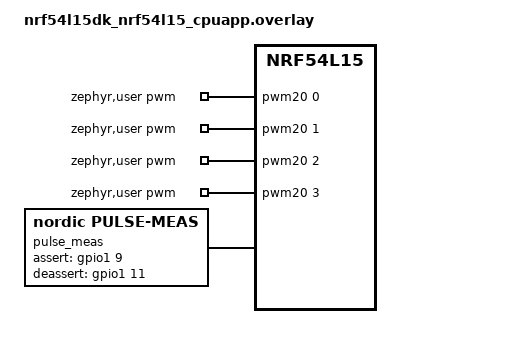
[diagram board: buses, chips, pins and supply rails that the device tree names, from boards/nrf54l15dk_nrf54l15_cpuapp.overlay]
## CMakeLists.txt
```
# SPDX-License-Identifier: LicenseRef-Nordic-5-Clause

cmake_minimum_required(VERSION 3.20.0)

find_package(Zephyr REQUIRED HINTS $ENV{ZEPHYR_BASE})
project(pulse_meas)

target_sources(app PRIVATE src/main.c)
```

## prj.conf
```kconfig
CONFIG_ZTEST=y
CONFIG_NRFX_PWM=y
```

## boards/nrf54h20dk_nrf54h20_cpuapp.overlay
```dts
/*
 * Copyright (c) 2026 Nordic Semiconductor ASA
 *
 * SPDX-License-Identifier: LicenseRef-Nordic-5-Clause
 */

&timer131 {
	status = "reserved";
};

&gpio0 {
	status = "okay";
};

&pinctrl {
	pwm130_default: pwm130_default {
		group1 {
			psels = <NRF_PSEL(PWM_OUT0, 0, 3)>,
				<NRF_PSEL(PWM_OUT1, 0, 6)>;
		};
	};

	pwm130_sleep: pwm130_sleep {
		group1 {
			psels = <NRF_PSEL(PWM_OUT0, 0, 3)>,
				<NRF_PSEL(PWM_OUT1, 0, 6)>;
			low-power-enable;
		};
	};
};

tester_pwm: &pwm130 {
	status = "reserved";
	pinctrl-0 = <&pwm130_default>;
	pinctrl-1 = <&pwm130_sleep>;
	pinctrl-names = "default", "sleep";
};

/ {
	pulse_meas: pulse-meas {
		compatible = "nordic,pulse-meas";
		status = "okay";
		timer-instance = <&timer131>;
		assert-gpios = <&gpio0 7 GPIO_ACTIVE_HIGH>;
		deassert-gpios = <&gpio0 5 GPIO_ACTIVE_HIGH>;
	};
};
```

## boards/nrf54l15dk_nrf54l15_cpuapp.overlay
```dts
/*
 * Copyright (c) 2026 Nordic Semiconductor ASA
 *
 * SPDX-License-Identifier: LicenseRef-Nordic-5-Clause
 */

/ {
	zephyr,user {
		pwms = <&pwm20 0 1600000 PWM_POLARITY_NORMAL>,
		       <&pwm20 1 1600000 PWM_POLARITY_NORMAL>,
		       <&pwm20 2 1600000 PWM_POLARITY_NORMAL>,
		       <&pwm20 3 1600000 PWM_POLARITY_NORMAL>;
	};

	pulse_meas: pulse-meas {
		compatible = "nordic,pulse-meas";
		status = "okay";
		timer-instance = <&timer20>;
		assert-gpios = <&gpio1 9 GPIO_ACTIVE_HIGH>;
		deassert-gpios = <&gpio1 11 GPIO_ACTIVE_HIGH>;
	};
};

&pinctrl {
	pwm20_default: pwm20_default {
		group1 {
			psels = <NRF_PSEL(PWM_OUT0, 1, 8)>,
				<NRF_PSEL(PWM_OUT1, 1, 10)>;
		};
	};

	pwm20_sleep: pwm20_sleep {
		group1 {
			psels = <NRF_PSEL(PWM_OUT0, 1, 8)>,
				<NRF_PSEL(PWM_OUT1, 1, 10)>;
			low-power-enable;
		};
	};
};

tester_pwm: &pwm20 {
	status = "reserved";
	pinctrl-0 = <&pwm20_default>;
	pinctrl-1 = <&pwm20_sleep>;
	pinctrl-names = "default", "sleep";
};

&timer20 {
	status = "reserved";
};

&gpio1 {
	status = "okay";
};
```

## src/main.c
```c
/*
 * Copyright (c) 2026, Nordic Semiconductor ASA
 *
 * SPDX-License-Identifier: LicenseRef-Nordic-5-Clause
 */

#include <zephyr/kernel.h>
#include <zephyr/ztest.h>
#include <drivers/pulse_meas.h>
#include <nrfx_pwm.h>
#include <pinctrl_soc.h>
#include <zephyr/devicetree/pinctrl.h>
#ifdef CONFIG_HAS_NORDIC_DMM
#include <dmm.h>
#endif

#include <zephyr/logging/log.h>
LOG_MODULE_REGISTER(test);

#define PWM_OUTPUT_PIN(idx)                                                                        \
	NRF_GET_PIN(DT_PROP_BY_IDX(                                                                \
		DT_CHILD(DT_PINCTRL_BY_NAME(DT_NODELABEL(tester_pwm), default, 0), group1), psels, \
		idx))
#define PWM_INSTANCE &NRFX_PWM_INSTANCE(DT_REG_ADDR(DT_NODELABEL(tester_pwm)))

#define NUMBER_OF_MEASUREMENTS 8

#define PWM_TOP_VALUE 1000
#define MEASUREMENT_PRECISION_US 1

static const struct device *const pulse_meas_dev = DEVICE_DT_GET(DT_NODELABEL(pulse_meas));

K_MEM_SLAB_DEFINE(my_meas_slab, PULSE_MEAS_BLOCK_SIZE(NUMBER_OF_MEASUREMENTS), 128, 4);

static volatile bool pulse_meas_handler_called;

static void pulse_meas_handler(void *context)
{
	pulse_meas_handler_called = true;
}

ZTEST(test_pulse_meas, test_pulse_meas_positive)
{
	nrfx_pwm_config_t const pwm_config =
		NRFX_PWM_DEFAULT_CONFIG(PWM_OUTPUT_PIN(0), PWM_OUTPUT_PIN(1),
					NRF_PWM_PIN_NOT_CONNECTED, NRF_PWM_PIN_NOT_CONNECTED);

	nrf_pwm_values_common_t pwm_duty_cycle_values[] = {1, 10, 100, 500, 900, 990, 999};
	nrf_pwm_sequence_t pwm_sequence = {.values = {pwm_duty_cycle_values},
					   .length = ARRAY_SIZE(pwm_duty_cycle_values),
					   .repeats = 0,
					   .end_delay = 0};

	static nrfx_pwm_t pwm = NRFX_PWM_INSTANCE(DT_REG_ADDR(DT_NODELABEL(tester_pwm)));

#ifdef CONFIG_HAS_NORDIC_DMM
	nrf_pwm_values_t pwm_duty_cycle_values_buffer;

	zassert_ok(dmm_buffer_out_prepare(
		DMM_DEV_TO_REG(DT_NODELABEL(tester_pwm)), pwm_duty_cycle_values,
		sizeof(nrf_pwm_values_common_t) * ARRAY_SIZE(pwm_duty_cycle_values),
		(void **)&pwm_duty_cycle_values_buffer));

	pwm_sequence.values = pwm_duty_cycle_values_buffer;
#endif

	zassert_ok(nrfx_pwm_init(&pwm, &pwm_config, NULL, NULL));

	static struct pulse_meas_config pulse_meas_cfg = {
		.num_of_meas = ARRAY_SIZE(pwm_duty_cycle_values),
		.pulse_type = PULSE_MEAS_PULSE_POSITIVE,
		.mode = PULSE_MEAS_MODE_ONE_SHOT,
		.pull_config = NRF_GPIO_PIN_NOPULL,
		.user_handler = &pulse_meas_handler,
		.user_context = NULL,
	};

	pulse_meas_handler_called = false;

	zassert_true(device_is_ready(pulse_meas_dev));

	zassert_ok(pulse_meas_configure(pulse_meas_dev, &pulse_meas_cfg));

	zassert_ok(pulse_meas_start(pulse_meas_dev, &my_meas_slab));

	zassert_ok(nrfx_pwm_simple_playback(&pwm, &pwm_sequence, 1, NRFX_PWM_FLAG_STOP));

	while (!pulse_meas_handler_called) {
		k_sleep(K_MSEC(1));
	}

	uint32_t *data;

	zassert_ok(pulse_meas_get(pulse_meas_dev, &data));

	for (uint32_t i = 0; i < ARRAY_SIZE(pwm_duty_cycle_values); i++) {
		zassert_within(data[i], PWM_TOP_VALUE - pwm_duty_cycle_values[i],
			MEASUREMENT_PRECISION_US);
	}
}

ZTEST(test_pulse_meas, test_pulse_meas_negative)
{
	nrfx_pwm_config_t const pwm_config =
		NRFX_PWM_DEFAULT_CONFIG(PWM_OUTPUT_PIN(0), PWM_OUTPUT_PIN(1),
					NRF_PWM_PIN_NOT_CONNECTED, NRF_PWM_PIN_NOT_CONNECTED);

	nrf_pwm_values_common_t pwm_duty_cycle_values[] = {1, 10, 100, 500, 900, 990, 999};
	nrf_pwm_sequence_t pwm_sequence = {.values = {pwm_duty_cycle_values},
					   .length = ARRAY_SIZE(pwm_duty_cycle_values),
					   .repeats = 0,
					   .end_delay = 0};

	static nrfx_pwm_t pwm = NRFX_PWM_INSTANCE(DT_REG_ADDR(DT_NODELABEL(tester_pwm)));

#ifdef CONFIG_HAS_NORDIC_DMM
	nrf_pwm_values_t pwm_duty_cycle_values_buffer;

	zassert_ok(dmm_buffer_out_prepare(
		DMM_DEV_TO_REG(DT_NODELABEL(tester_pwm)), pwm_duty_cycle_values,
		sizeof(nrf_pwm_values_common_t) * ARRAY_SIZE(pwm_duty_cycle_values),
		(void **)&pwm_duty_cycle_values_buffer));

	pwm_sequence.values = pwm_duty_cycle_values_buffer;
#endif

	zassert_ok(nrfx_pwm_init(&pwm, &pwm_config, NULL, NULL));

	static struct pulse_meas_config pulse_meas_cfg = {
		.num_of_meas = ARRAY_SIZE(pwm_duty_cycle_values),
		.pulse_type = PULSE_MEAS_PULSE_NEGATIVE,
		.mode = PULSE_MEAS_MODE_ONE_SHOT,
		.pull_config = NRF_GPIO_PIN_NOPULL,
		.user_handler = &pulse_meas_handler,
		.user_context = NULL,
	};

	pulse_meas_handler_called = false;

	zassert_true(device_is_ready(pulse_meas_dev));

	zassert_ok(pulse_meas_configure(pulse_meas_dev, &pulse_meas_cfg));

	zassert_ok(pulse_meas_start(pulse_meas_dev, &my_meas_slab));

	zassert_ok(nrfx_pwm_simple_playback(&pwm, &pwm_sequence, 1, NRFX_PWM_FLAG_STOP));

	while (!pulse_meas_handler_called) {
		k_sleep(K_MSEC(1));
	}

	uint32_t *data;

	zassert_ok(pulse_meas_get(pulse_meas_dev, &data));

	for (uint32_t i = 1; i < ARRAY_SIZE(pwm_duty_cycle_values); i++) {
		zassert_within(data[i], pwm_duty_cycle_values[i], MEASUREMENT_PRECISION_US);
	}
}

ZTEST(test_pulse_meas, test_pulse_meas_continuous)
{
	nrfx_pwm_config_t const pwm_config =
		NRFX_PWM_DEFAULT_CONFIG(PWM_OUTPUT_PIN(0), PWM_OUTPUT_PIN(1),
					NRF_PWM_PIN_NOT_CONNECTED, NRF_PWM_PIN_NOT_CONNECTED);

	nrf_pwm_values_common_t pwm_duty_cycle_values1[] = {1, 10, 100, 500, 900, 990, 999};
	nrf_pwm_values_common_t pwm_duty_cycle_values2[] = {32, 99, 346, 2, 43, 897, 376};

	zassert_equal(ARRAY_SIZE(pwm_duty_cycle_values1), ARRAY_SIZE(pwm_duty_cycle_values2));

	nrf_pwm_sequence_t pwm_sequence1 = {.values = {pwm_duty_cycle_values1},
					    .length = ARRAY_SIZE(pwm_duty_cycle_values1),
					    .repeats = 0,
					    .end_delay = 0};
	nrf_pwm_sequence_t pwm_sequence2 = {.values = {pwm_duty_cycle_values2},
					    .length = ARRAY_SIZE(pwm_duty_cycle_values2),
					    .repeats = 0,
					    .end_delay = 0};

	static nrfx_pwm_t pwm = NRFX_PWM_INSTANCE(DT_REG_ADDR(DT_NODELABEL(tester_pwm)));

#ifdef CONFIG_HAS_NORDIC_DMM
	nrf_pwm_values_t pwm_duty_cycle_values1_buffer;
	nrf_pwm_values_t pwm_duty_cycle_values2_buffer;

	zassert_ok(dmm_buffer_out_prepare(
		DMM_DEV_TO_REG(DT_NODELABEL(tester_pwm)), pwm_duty_cycle_values1,
		sizeof(nrf_pwm_values_common_t) * ARRAY_SIZE(pwm_duty_cycle_values1),
		(void **)&pwm_duty_cycle_values1_buffer));
	zassert_ok(dmm_buffer_out_prepare(
		DMM_DEV_TO_REG(DT_NODELABEL(tester_pwm)), pwm_duty_cycle_values2,
		sizeof(nrf_pwm_values_common_t) * ARRAY_SIZE(pwm_duty_cycle_values2),
		(void **)&pwm_duty_cycle_values2_buffer));

	pwm_sequence1.values = pwm_duty_cycle_values1_buffer;
	pwm_sequence2.values = pwm_duty_cycle_values2_buffer;
#endif

	zassert_ok(nrfx_pwm_init(&pwm, &pwm_config, NULL, NULL));

	static struct pulse_meas_config pulse_meas_cfg = {
		.num_of_meas = ARRAY_SIZE(pwm_duty_cycle_values1),
		.pulse_type = PULSE_MEAS_PULSE_POSITIVE,
		.mode = PULSE_MEAS_MODE_CONTINUOUS,
		.pull_config = NRF_GPIO_PIN_NOPULL,
		.user_handler = &pulse_meas_handler,
		.user_context = NULL,
	};

	pulse_meas_handler_called = false;

	zassert_true(device_is_ready(pulse_meas_dev));

	zassert_ok(pulse_meas_configure(pulse_meas_dev, &pulse_meas_cfg));

	zassert_ok(pulse_meas_start(pulse_meas_dev, &my_meas_slab));

	zassert_ok(nrfx_pwm_simple_playback(&pwm, &pwm_sequence1, 1, NRFX_PWM_FLAG_STOP));

	while (!pulse_meas_handler_called) {
		k_sleep(K_MSEC(1));
	}

	pulse_meas_handler_called = false;

	zassert_equal(pulse_meas_pending(pulse_meas_dev), 1);

	uint32_t *data;

	zassert_ok(pulse_meas_get(pulse_meas_dev, &data));

	for (uint32_t i = 0; i < ARRAY_SIZE(pwm_duty_cycle_values1); i++) {
		zassert_within(data[i], PWM_TOP_VALUE - pwm_duty_cycle_values1[i],
			MEASUREMENT_PRECISION_US);
	}

	zassert_ok(nrfx_pwm_simple_playback(&pwm, &pwm_sequence2, 1, NRFX_PWM_FLAG_STOP));
	while (!pulse_meas_handler_called) {
		k_sleep(K_MSEC(1));
	}

	pulse_meas_handler_called = false;

	zassert_equal(pulse_meas_pending(pulse_meas_dev), 1);

	zassert_ok(pulse_meas_get(pulse_meas_dev, &data));

	for (uint32_t i = 0; i < ARRAY_SIZE(pwm_duty_cycle_values1); i++) {
		zassert_within(data[i], PWM_TOP_VALUE - pwm_duty_cycle_values2[i],
			       MEASUREMENT_PRECISION_US);
	}

	pulse_meas_stop(pulse_meas_dev, true);

	zassert_ok(nrfx_pwm_simple_playback(&pwm, &pwm_sequence1, 1, NRFX_PWM_FLAG_STOP));

	k_sleep(K_MSEC(1000));

	zassert_false(pulse_meas_handler_called);

	zassert_equal(pulse_meas_pending(pulse_meas_dev), 0);
}

static void *suite_setup(void)
{

	return NULL;
}

ZTEST_SUITE(test_pulse_meas, NULL, suite_setup, NULL, NULL, NULL);
```
